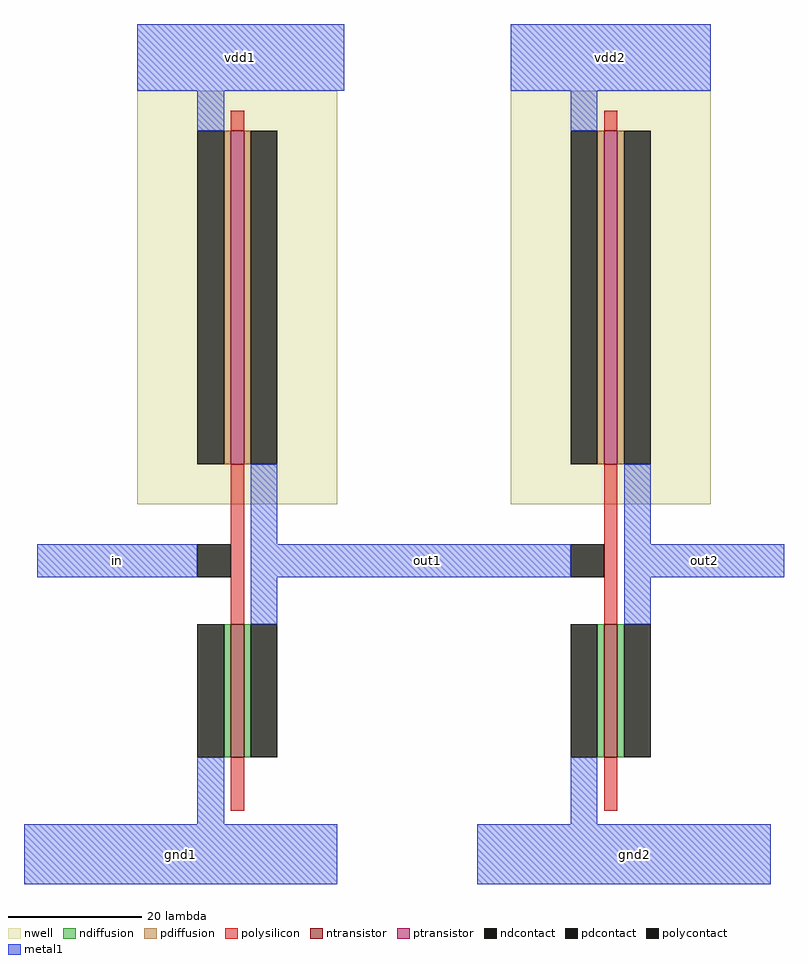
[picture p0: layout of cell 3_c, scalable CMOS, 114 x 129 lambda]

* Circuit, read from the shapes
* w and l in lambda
.subckt 3_c gnd1 gnd2 in out1 out2 vdd1 vdd2
M1 out1 in gnd1 VSUBS nfet w=20 l=2
M2 out2 out1 gnd2 VSUBS nfet w=20 l=2
M3 out1 in vdd1 n1 pfet w=50 l=2
M4 out2 out1 vdd2 n2 pfet w=50 l=2
.ends

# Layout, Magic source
magic
tech scmos
<< nwell >>
rect -103 24 -73 86
rect -47 24 -17 86
<< ntransistor >>
rect -89 -14 -87 6
rect -33 -14 -31 6
<< ptransistor >>
rect -89 30 -87 80
rect -33 30 -31 80
<< ndiffusion >>
rect -90 -14 -89 6
rect -87 -14 -86 6
rect -34 -14 -33 6
rect -31 -14 -30 6
<< pdiffusion >>
rect -90 30 -89 80
rect -87 30 -86 80
rect -34 30 -33 80
rect -31 30 -30 80
<< ndcontact >>
rect -94 -14 -90 6
rect -86 -14 -82 6
rect -38 -14 -34 6
rect -30 -14 -26 6
<< pdcontact >>
rect -94 30 -90 80
rect -86 30 -82 80
rect -38 30 -34 80
rect -30 30 -26 80
<< polysilicon >>
rect -89 80 -87 83
rect -33 80 -31 83
rect -89 6 -87 30
rect -33 6 -31 30
rect -89 -22 -87 -14
rect -33 -22 -31 -14
<< polycontact >>
rect -94 13 -89 18
rect -38 13 -33 18
<< metal1 >>
rect -103 86 -72 96
rect -47 86 -17 96
rect -94 80 -90 86
rect -38 80 -34 86
rect -86 18 -82 30
rect -30 18 -26 30
rect -118 13 -94 18
rect -86 13 -38 18
rect -30 13 -6 18
rect -86 6 -82 13
rect -30 6 -26 13
rect -94 -24 -90 -14
rect -38 -24 -34 -14
rect -120 -33 -73 -24
rect -52 -33 -8 -24
<< labels >>
rlabel metal1 -118 13 -94 18 1 in
rlabel metal1 -30 13 -6 18 1 out2
rlabel metal1 -86 13 -33 18 1 out1
rlabel metal1 -103 86 -72 96 5 vdd1
rlabel metal1 -47 86 -17 96 5 vdd2
rlabel metal1 -107 -33 -86 -24 1 gnd1
rlabel metal1 -39 -33 -18 -24 1 gnd2
<< end >>
